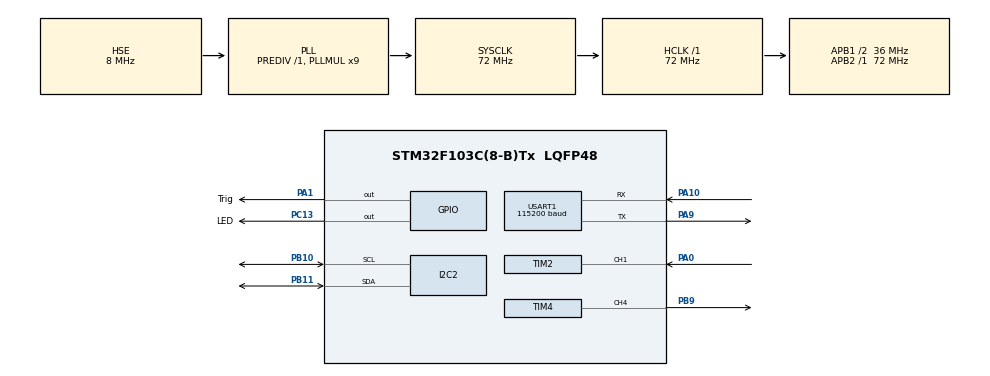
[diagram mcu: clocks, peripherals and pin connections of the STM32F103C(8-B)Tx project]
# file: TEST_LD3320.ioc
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Mcu.Family=STM32F1
Mcu.Name=STM32F103C(8-B)Tx
Mcu.Package=LQFP48
NVIC.PriorityGroup=NVIC_PRIORITYGROUP_4
NVIC.TIM2_IRQn=true\:0\:0\:false\:false\:true\:true\:true
NVIC.USART1_IRQn=true\:0\:0\:false\:false\:true\:true\:true
PA0-WKUP.Signal=S_TIM2_CH1_ETR
PA1.GPIO_Label=Trig
PA1.Signal=GPIO_Output
PA10.Mode=Asynchronous
PA10.Signal=USART1_RX
PA9.Mode=Asynchronous
PA9.Signal=USART1_TX
PB10.Mode=I2C
PB10.Signal=I2C2_SCL
PB11.Mode=I2C
PB11.Signal=I2C2_SDA
PB9.Signal=S_TIM4_CH4
PC13-TAMPER-RTC.GPIO_Label=LED
PC13-TAMPER-RTC.PinState=GPIO_PIN_SET
PC13-TAMPER-RTC.Signal=GPIO_Output
PD0-OSC_IN.Mode=HSE-External-Oscillator
PD0-OSC_IN.Signal=RCC_OSC_IN
PD1-OSC_OUT.Mode=HSE-External-Oscillator
PD1-OSC_OUT.Signal=RCC_OSC_OUT
ProjectManager.HeapSize=0x200
ProjectManager.StackSize=0x400
ProjectManager.TargetToolchain=MDK-ARM V5.32
RCC.AHBFreq_Value=72000000
RCC.APB1CLKDivider=RCC_HCLK_DIV2
RCC.APB1Freq_Value=36000000
RCC.APB1TimFreq_Value=72000000
RCC.APB2Freq_Value=72000000
RCC.APB2TimFreq_Value=72000000
RCC.HCLKFreq_Value=72000000
RCC.PLLMUL=RCC_PLL_MUL9
RCC.PLLSourceVirtual=RCC_PLLSOURCE_HSE
RCC.SYSCLKFreq_VALUE=72000000
RCC.SYSCLKSource=RCC_SYSCLKSOURCE_PLLCLK
RCC.USBFreq_Value=72000000
SH.S_TIM2_CH1_ETR.0=TIM2_CH1,Input_Capture1_from_TI1
SH.S_TIM4_CH4.0=TIM4_CH4,PWM Generation4 CH4
TIM2.Channel-Input_Capture1_from_TI1=TIM_CHANNEL_1
TIM2.Prescaler=72-1
TIM4.Channel-PWM\ Generation4\ CH4=TIM_CHANNEL_4
TIM4.Period=2000-1
TIM4.Prescaler=720-1
USART1.BaudRate=115200
USART1.VirtualMode=VM_ASYNC
VP_SYS_VS_ND.Mode=No_Debug
board=custom

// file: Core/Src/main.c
/* USER CODE BEGIN Header */
/**
  ******************************************************************************
  * @file           : main.c
  * @brief          : Main program body
  ******************************************************************************
  * @attention
  *
  * <h2><center>&copy; Copyright (c) 2024 STMicroelectronics.
  * All rights reserved.</center></h2>
  *
  * This software component is licensed by ST under BSD 3-Clause license,
  * the "License"; You may not use this file except in compliance with the
  * License. You may obtain a copy of the License at:
  *                        opensource.org/licenses/BSD-3-Clause
  *
  ******************************************************************************
  */
/* USER CODE END Header */
#include "main.h"
#include "i2c.h"
#include "tim.h"
#include "usart.h"
#include "gpio.h"

/* USER CODE BEGIN Includes */
#include "OLED.h"
#include "SR04.h"
/* USER CODE END Includes */

/* USER CODE BEGIN PV */
uint8_t  cmd = 0;
uint8_t DJ_State = 0;
float SR04_Distant=0.0;
/* USER CODE END PV */

void SystemClock_Config(void);

int main(void)
{

  /* MCU Configuration--------------------------------------------------------*/

  /* Reset of all peripherals, Initializes the Flash interface and the Systick. */
  HAL_Init();

  /* Configure the system clock */
  SystemClock_Config();

  /* Initialize all configured peripherals */
  MX_GPIO_Init();
  MX_USART1_UART_Init();
  MX_TIM4_Init();
  MX_I2C2_Init();
  MX_TIM2_Init();
  /* USER CODE BEGIN 2 */
  HAL_TIM_PWM_Start(&htim4,TIM_CHANNEL_4);
  HAL_UART_Receive_IT(&huart1, &cmd, 1);
  HAL_TIM_IC_Start_IT(&htim2,TIM_CHANNEL_1);
  //TIM4->CCR4 = 100;
  //TIM4->CCR4 = 200;
  OLED_Init();
  OLED_CLS();
  OLED_ShowStr(40,3,"CM",2);
//  OLED_ShowNum(0,0,5,2,2);

  /* USER CODE END 2 */

  /* Infinite loop */
  while (1)
  {

    /* USER CODE BEGIN 3 */
	  SR04_Distant= SR04_GetData();
	  OLED_ShowNum(3,3,SR04_Distant,4,16);
	  if(SR04_Distant <10)
	  {
		printf("垃圾桶已打开\r\n");
		HAL_Delay(3000);
		printf("垃圾桶已关闭\r\n");
	  }
	  if(DJ_State == 1)
	  {
		printf("可回收垃圾桶已打开\r\n");
		HAL_Delay(3000);
		printf("可回收垃圾桶已关闭\r\n");
		DJ_State = 0;
	  }
	  HAL_Delay(1000);
  }
  /* USER CODE END 3 */
}

void SystemClock_Config(void)
{
  RCC_OscInitTypeDef RCC_OscInitStruct = {0};
  RCC_ClkInitTypeDef RCC_ClkInitStruct = {0};

  /** Initializes the RCC Oscillators according to the specified parameters
  * in the RCC_OscInitTypeDef structure.
  */
  RCC_OscInitStruct.OscillatorType = RCC_OSCILLATORTYPE_HSE;
  RCC_OscInitStruct.HSEState = RCC_HSE_ON;
  RCC_OscInitStruct.HSEPredivValue = RCC_HSE_PREDIV_DIV1;
  RCC_OscInitStruct.HSIState = RCC_HSI_ON;
  RCC_OscInitStruct.PLL.PLLState = RCC_PLL_ON;
  RCC_OscInitStruct.PLL.PLLSource = RCC_PLLSOURCE_HSE;
  RCC_OscInitStruct.PLL.PLLMUL = RCC_PLL_MUL9;
  if (HAL_RCC_OscConfig(&RCC_OscInitStruct) != HAL_OK)
  {
    Error_Handler();
  }
  /** Initializes the CPU, AHB and APB buses clocks
  */
  RCC_ClkInitStruct.ClockType = RCC_CLOCKTYPE_HCLK|RCC_CLOCKTYPE_SYSCLK
                              |RCC_CLOCKTYPE_PCLK1|RCC_CLOCKTYPE_PCLK2;
  RCC_ClkInitStruct.SYSCLKSource = RCC_SYSCLKSOURCE_PLLCLK;
  RCC_ClkInitStruct.AHBCLKDivider = RCC_SYSCLK_DIV1;
  RCC_ClkInitStruct.APB1CLKDivider = RCC_HCLK_DIV2;
  RCC_ClkInitStruct.APB2CLKDivider = RCC_HCLK_DIV1;

  if (HAL_RCC_ClockConfig(&RCC_ClkInitStruct, FLASH_LATENCY_2) != HAL_OK)
  {
    Error_Handler();
  }
}

/* USER CODE BEGIN 4 */
void HAL_UART_RxCpltCallback(UART_HandleTypeDef *huart)
{
	if(huart->Instance == USART1){
		if(cmd -48 == 1)
		{ //串口接收数据之后进行ascii转化
			HAL_GPIO_WritePin(GPIOC,GPIO_PIN_13,GPIO_PIN_RESET);
			//HAL_UART_Transmit_IT(&huart1, "ON LED!\r\n", sizeof("ON LED!\r\n"));
			DJ_State = 1;
			//printf("%d\r\n",DJ_State);
		}
		if(cmd -48 == 2)
		{
			HAL_GPIO_WritePin(GPIOC,GPIO_PIN_13,GPIO_PIN_SET);
			//HAL_UART_Transmit_IT(&huart1, "OFF LED!\r\n", sizeof("OFF LED!\r\n"));
			DJ_State = 2;
			//printf("%d\r\n",DJ_State);
		}
	}
    HAL_UART_Receive_IT(&huart1, &cmd, 1);
}
/* USER CODE END 4 */

void Error_Handler(void)
{
  __disable_irq();
  while (1)
  {
  }
}

/************************ (C) COPYRIGHT STMicroelectronics *****END OF FILE****/
